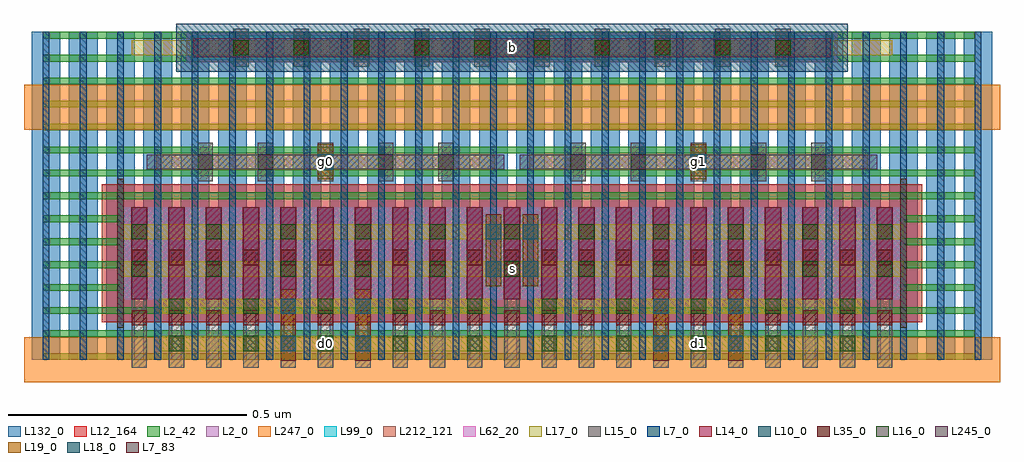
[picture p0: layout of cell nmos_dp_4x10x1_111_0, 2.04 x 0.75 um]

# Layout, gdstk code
import gdstk
lib = gdstk.Library(unit=1e-6, precision=1e-12)
def R(c, l, rs):  # rectangles x0, y0, x1, y1
    for r in rs: c.add(gdstk.rectangle(r[:2], r[2:], *l))
def A(c, l, x, y, w, h, nx, ny, dx, dy):  # array of equal rectangles
    R(c, l, [(x+i*dx, y+j*dy, x+i*dx+w, y+j*dy+h) for i in range(nx) for j in range(ny)])
L2_0 = (2, 0)
L2_42 = (2, 42)
L7_0 = (7, 0)
L7_83 = (7, 83)
L10_0 = (10, 0)
L12_164 = (12, 164)
L14_0 = (14, 0)
L15_0 = (15, 0)
L16_0 = (16, 0)
L17_0 = (17, 0)
L18_0 = (18, 0)
L19_0 = (19, 0)
L35_0 = (35, 0)
L62_20 = (62, 20)
L99_0 = (99, 0)
L132_0 = (132, 0)
L212_121 = (212, 121)
L245_0 = (245, 0)
L247_0 = (247, 0)

nmos_dp_4x10x1_111_0 = lib.new_cell('nmos_dp_4x10x1_111_0')
R(nmos_dp_4x10x1_111_0, L2_0, [(0.186,0.127,1.824,0.319), (0.323,0.623,1.687,0.683)])
A(nmos_dp_4x10x1_111_0, L2_42, 0.023, 0, 1.95, 0.014, 1, 15, 0, 0.048)
A(nmos_dp_4x10x1_111_0, L7_0, 0.023, 0, 0.014, 0.686, 26, 1, 0.078, 0)
R(nmos_dp_4x10x1_111_0, L7_83, [(0.179,0.067,0.193,0.379), (1.817,0.067,1.831,0.379)])
R(nmos_dp_4x10x1_111_0, L10_0, [(0.303,0.603,1.707,0.703)])
R(nmos_dp_4x10x1_111_0, L12_164, [(0.147,0.079,1.863,0.367)])
A(nmos_dp_4x10x1_111_0, L14_0, 0.208, 0.127, 0.034, 0.192, 21, 1, 0.078, 0)
R(nmos_dp_4x10x1_111_0, L14_0, [(0.338,0.633,1.672,0.673)])
A(nmos_dp_4x10x1_111_0, L15_0, 0.209, -0.017, 0.032, 0.336, 21, 1, 0.078, 0)
A(nmos_dp_4x10x1_111_0, L15_0, 0.347, 0.374, 0.032, 0.08, 5, 1, 0.126, 0)
A(nmos_dp_4x10x1_111_0, L15_0, 1.127, 0.374, 0.032, 0.08, 5, 1, 0.126, 0)
A(nmos_dp_4x10x1_111_0, L15_0, 0.422, 0.613, 0.032, 0.08, 10, 1, 0.126, 0)
A(nmos_dp_4x10x1_111_0, L16_0, 0.287, 0.018, 0.032, 0.032, 10, 2, 0.156, 0.078)
A(nmos_dp_4x10x1_111_0, L16_0, 0.209, 0.174, 0.032, 0.032, 11, 2, 0.156, 0.078)
A(nmos_dp_4x10x1_111_0, L16_0, 0.347, 0.398, 0.032, 0.032, 5, 1, 0.126, 0)
A(nmos_dp_4x10x1_111_0, L16_0, 1.127, 0.398, 0.032, 0.032, 5, 1, 0.126, 0)
A(nmos_dp_4x10x1_111_0, L16_0, 0.422, 0.637, 0.032, 0.032, 10, 1, 0.126, 0)
R(nmos_dp_4x10x1_111_0, L17_0, [(0.267,0.018,0.963,0.05), (1.047,0.018,1.743,0.05), (0.267,0.096,0.963,0.128), (1.047,0.096,1.743,0.128), (0.186,0.174,1.824,0.206), (0.186,0.252,1.824,0.284), (0.261,0.398,0.969,0.43), (1.041,0.398,1.749,0.43), (0.209,0.637,1.801,0.669)])
R(nmos_dp_4x10x1_111_0, L18_0, [(0.521,0.018,0.553,0.05), (0.677,0.018,0.709,0.05), (1.301,0.018,1.333,0.05), (1.457,0.018,1.489,0.05), (0.521,0.096,0.553,0.128), (0.677,0.096,0.709,0.128), (1.301,0.096,1.333,0.128), (1.457,0.096,1.489,0.128), (0.95,0.174,0.982,0.206), (1.028,0.174,1.06,0.206), (0.95,0.252,0.982,0.284), (1.028,0.252,1.06,0.284), (0.599,0.398,0.631,0.43), (1.379,0.398,1.411,0.43)])
R(nmos_dp_4x10x1_111_0, L19_0, [(0.521,-0.002,0.553,0.148), (0.677,-0.002,0.709,0.148), (1.301,-0.002,1.333,0.148), (1.457,-0.002,1.489,0.148), (0.95,0.154,0.982,0.304), (1.028,0.154,1.06,0.304), (0.599,0.378,0.631,0.451), (1.379,0.378,1.411,0.451)])
A(nmos_dp_4x10x1_111_0, L35_0, 0.209, 0.072, 0.032, 0.032, 21, 2, 0.078, 0.126)
A(nmos_dp_4x10x1_111_0, L35_0, 0.347, 0.398, 0.032, 0.032, 5, 1, 0.126, 0)
A(nmos_dp_4x10x1_111_0, L35_0, 1.127, 0.398, 0.032, 0.032, 5, 1, 0.126, 0)
A(nmos_dp_4x10x1_111_0, L35_0, 0.422, 0.637, 0.032, 0.032, 10, 1, 0.126, 0)
R(nmos_dp_4x10x1_111_0, L62_20, [(0.186,0.127,1.824,0.319)])
R(nmos_dp_4x10x1_111_0, L99_0, [(0.186,0.127,1.824,0.319), (0.333,0.628,1.677,0.678)])
A(nmos_dp_4x10x1_111_0, L132_0, 0, 0, 0.06, 0.686, 26, 1, 0.078, 0)
R(nmos_dp_4x10x1_111_0, L212_121, [(0.186,0.127,1.824,0.319)])
R(nmos_dp_4x10x1_111_0, L245_0, [(0.241,0.399,0.989,0.429), (1.021,0.399,1.769,0.429)])
R(nmos_dp_4x10x1_111_0, L247_0, [(-0.016,-0.047,2.026,0.047), (-0.016,0.481,2.026,0.575)])
nmos_dp_4x10x1_111_0.add(gdstk.Label('s', (1.005,0.19), layer=16, texttype=20))
nmos_dp_4x10x1_111_0.add(gdstk.Label('d1', (1.395,0.034), layer=16, texttype=20))
nmos_dp_4x10x1_111_0.add(gdstk.Label('d0', (0.615,0.034), layer=16, texttype=20))
nmos_dp_4x10x1_111_0.add(gdstk.Label('g0', (0.615,0.4145), layer=16, texttype=20))
nmos_dp_4x10x1_111_0.add(gdstk.Label('g1', (1.395,0.4145), layer=16, texttype=20))
nmos_dp_4x10x1_111_0.add(gdstk.Label('b', (1.005,0.653), layer=16, texttype=20))

lib.write_gds('nmos_dp_4x10x1_111_0.gds')
